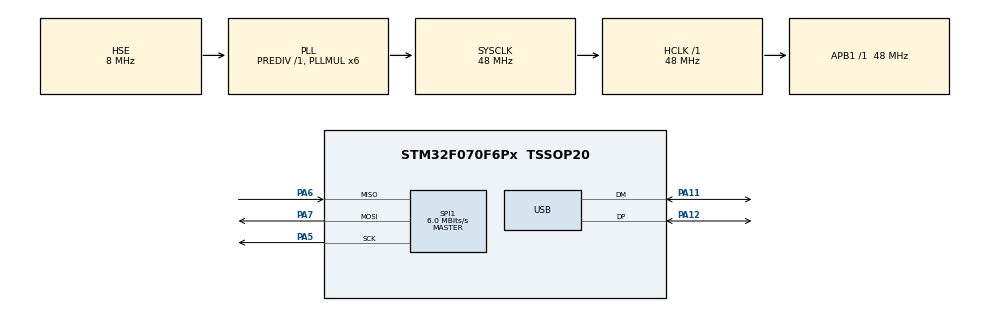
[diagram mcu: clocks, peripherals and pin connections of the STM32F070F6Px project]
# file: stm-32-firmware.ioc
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Mcu.Family=STM32F0
Mcu.Name=STM32F070F6Px
Mcu.Package=TSSOP20
NVIC.USB_IRQn=true\:0\:0\:false\:false\:true\:false
PA11.Mode=Device
PA11.Signal=USB_DM
PA12.Mode=Device
PA12.Signal=USB_DP
PA13.Mode=Serial_Wire
PA13.Signal=SYS_SWDIO
PA14.Mode=Serial_Wire
PA14.Signal=SYS_SWCLK
PA5.Mode=Full_Duplex_Master
PA5.Signal=SPI1_SCK
PA6.Mode=Full_Duplex_Master
PA6.Signal=SPI1_MISO
PA7.Mode=Full_Duplex_Master
PA7.Signal=SPI1_MOSI
PF0-OSC_IN.Mode=HSE-External-Oscillator
PF0-OSC_IN.Signal=RCC_OSC_IN
PF1-OSC_OUT.Mode=HSE-External-Oscillator
PF1-OSC_OUT.Signal=RCC_OSC_OUT
ProjectManager.HeapSize=0x200
ProjectManager.StackSize=0x200
ProjectManager.TargetToolchain=Makefile
RCC.AHBFreq_Value=48000000
RCC.APB1Freq_Value=48000000
RCC.APB1TimFreq_Value=48000000
RCC.HCLKFreq_Value=48000000
RCC.PLLMUL=RCC_PLL_MUL6
RCC.SYSCLKFreq_VALUE=48000000
RCC.SYSCLKSource=RCC_SYSCLKSOURCE_PLLCLK
SPI1.BaudRatePrescaler=SPI_BAUDRATEPRESCALER_8
SPI1.CalculateBaudRate=6.0 MBits/s
SPI1.Direction=SPI_DIRECTION_2LINES
SPI1.Mode=SPI_MODE_MASTER
SPI1.VirtualType=VM_MASTER
USB_DEVICE.CLASS_NAME_FS=AUDIO
USB_DEVICE.VirtualMode=Audio
USB_DEVICE.VirtualModeFS=Audio_FS
VP_SYS_VS_PINREMAP.Mode=PINREMAP
VP_USB_DEVICE_VS_USB_DEVICE_AUDIO_FS.Mode=AUDIO_FS
board=custom

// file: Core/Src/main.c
/**
  ******************************************************************************
  * @file           : main.c
  * @brief          : Main program body
  ******************************************************************************
  * This notice applies to any and all portions of this file
  * that are not between comment pairs USER CODE BEGIN and
  * USER CODE END. Other portions of this file, whether
  * inserted by the user or by software development tools
  * are owned by their respective copyright owners.
  *
  * Copyright (c) 2018 STMicroelectronics International N.V.
  * All rights reserved.
  *
  * Redistribution and use in source and binary forms, with or without
  * modification, are permitted, provided that the following conditions are met:
  *
  * 1. Redistribution of source code must retain the above copyright notice,
  *    this list of conditions and the following disclaimer.
  * 2. Redistributions in binary form must reproduce the above copyright notice,
  *    this list of conditions and the following disclaimer in the documentation
  *    and/or other materials provided with the distribution.
  * 3. Neither the name of STMicroelectronics nor the names of other
  *    contributors to this software may be used to endorse or promote products
  *    derived from this software without specific written permission.
  * 4. This software, including modifications and/or derivative works of this
  *    software, must execute solely and exclusively on microcontroller or
  *    microprocessor devices manufactured by or for STMicroelectronics.
  * 5. Redistribution and use of this software other than as permitted under
  *    this license is void and will automatically terminate your rights under
  *    this license.
  *
  * THIS SOFTWARE IS PROVIDED BY STMICROELECTRONICS AND CONTRIBUTORS "AS IS"
  * AND ANY EXPRESS, IMPLIED OR STATUTORY WARRANTIES, INCLUDING, BUT NOT
  * LIMITED TO, THE IMPLIED WARRANTIES OF MERCHANTABILITY, FITNESS FOR A
  * PARTICULAR PURPOSE AND NON-INFRINGEMENT OF THIRD PARTY INTELLECTUAL PROPERTY
  * RIGHTS ARE DISCLAIMED TO THE FULLEST EXTENT PERMITTED BY LAW. IN NO EVENT
  * SHALL STMICROELECTRONICS OR CONTRIBUTORS BE LIABLE FOR ANY DIRECT, INDIRECT,
  * INCIDENTAL, SPECIAL, EXEMPLARY, OR CONSEQUENTIAL DAMAGES (INCLUDING, BUT NOT
  * LIMITED TO, PROCUREMENT OF SUBSTITUTE GOODS OR SERVICES; LOSS OF USE, DATA,
  * OR PROFITS; OR BUSINESS INTERRUPTION) HOWEVER CAUSED AND ON ANY THEORY OF
  * LIABILITY, WHETHER IN CONTRACT, STRICT LIABILITY, OR TORT (INCLUDING
  * NEGLIGENCE OR OTHERWISE) ARISING IN ANY WAY OUT OF THE USE OF THIS SOFTWARE,
  * EVEN IF ADVISED OF THE POSSIBILITY OF SUCH DAMAGE.
  *
  ******************************************************************************
  */
#include "main.h"
#include "stm32f0xx_hal.h"
#include "spi.h"
#include "usb_device.h"
#include "gpio.h"
#include "usbd_midi_if.h"

/* USER CODE BEGIN PV */
/* Private variables ---------------------------------------------------------*/

/* USER CODE END PV */

void SystemClock_Config(void);

/* USER CODE BEGIN PFP */
/* Private function prototypes -----------------------------------------------*/

/* USER CODE END PFP */

/* USER CODE BEGIN 0 */
void send_emulated(uint8_t * data, uint32_t length) {
  uint32_t ptr = 0;
  while(1) {
    if(length - ptr > 1) {
      // we send out two bytes in one packet (note on)
      uint8_t message[] = {0x09, 0x90 | data[ptr] >> 7 | (data[ptr + 1] >> 7) << 1, data[ptr] & 0b01111111, data[ptr + 1] & 0b01111111};
      sendMidiMessage(message, 4);
      ptr += 2;
    } else if (length - ptr == 1) {
      // we send out one byte in one packet (note off)
      uint8_t message[] = {0x08, 0x80 | data[ptr] >> 7, data[ptr] & 0b01111111, 0x00};
      sendMidiMessage(message, 4);
      ptr += 1;
    } else {
      return;
    }
    USBD_MIDI_SendPacket();
  }
}
/* USER CODE END 0 */

int main(void)
{

  /* MCU Configuration----------------------------------------------------------*/

  /* Reset of all peripherals, Initializes the Flash interface and the Systick. */
  HAL_Init();

  /* Configure the system clock */
  SystemClock_Config();

  /* Initialize all configured peripherals */
  MX_GPIO_Init();
  MX_SPI1_Init();
  MX_USB_DEVICE_Init();
  /* USER CODE BEGIN 2 */
  for(int i = 0; i < 8000000; i++);
  midiInit();
  /* USER CODE END 2 */

  /* Infinite loop */
  /* USER CODE BEGIN WHILE */
  while (1)
  {
    //sleep
    uint8_t message[] = "123456789\n";
    send_emulated(message, sizeof(message));
  /* USER CODE END WHILE */

  }

}

void SystemClock_Config(void)
{

  RCC_OscInitTypeDef RCC_OscInitStruct;
  RCC_ClkInitTypeDef RCC_ClkInitStruct;
  RCC_PeriphCLKInitTypeDef PeriphClkInit;

    /**Initializes the CPU, AHB and APB busses clocks
    */
  RCC_OscInitStruct.OscillatorType = RCC_OSCILLATORTYPE_HSE;
  RCC_OscInitStruct.HSEState = RCC_HSE_ON;
  RCC_OscInitStruct.PLL.PLLState = RCC_PLL_ON;
  RCC_OscInitStruct.PLL.PLLSource = RCC_PLLSOURCE_HSE;
  RCC_OscInitStruct.PLL.PLLMUL = RCC_PLL_MUL6;
  RCC_OscInitStruct.PLL.PREDIV = RCC_PREDIV_DIV1;
  if (HAL_RCC_OscConfig(&RCC_OscInitStruct) != HAL_OK)
  {
    _Error_Handler(__FILE__, __LINE__);
  }

    /**Initializes the CPU, AHB and APB busses clocks
    */
  RCC_ClkInitStruct.ClockType = RCC_CLOCKTYPE_HCLK|RCC_CLOCKTYPE_SYSCLK
                              |RCC_CLOCKTYPE_PCLK1;
  RCC_ClkInitStruct.SYSCLKSource = RCC_SYSCLKSOURCE_PLLCLK;
  RCC_ClkInitStruct.AHBCLKDivider = RCC_SYSCLK_DIV1;
  RCC_ClkInitStruct.APB1CLKDivider = RCC_HCLK_DIV1;

  if (HAL_RCC_ClockConfig(&RCC_ClkInitStruct, FLASH_LATENCY_1) != HAL_OK)
  {
    _Error_Handler(__FILE__, __LINE__);
  }

  PeriphClkInit.PeriphClockSelection = RCC_PERIPHCLK_USB;
  PeriphClkInit.UsbClockSelection = RCC_USBCLKSOURCE_PLL;

  if (HAL_RCCEx_PeriphCLKConfig(&PeriphClkInit) != HAL_OK)
  {
    _Error_Handler(__FILE__, __LINE__);
  }

    /**Configure the Systick interrupt time
    */
  HAL_SYSTICK_Config(HAL_RCC_GetHCLKFreq()/1000);

    /**Configure the Systick
    */
  HAL_SYSTICK_CLKSourceConfig(SYSTICK_CLKSOURCE_HCLK);

  /* SysTick_IRQn interrupt configuration */
  HAL_NVIC_SetPriority(SysTick_IRQn, 0, 0);
}

void _Error_Handler(char *file, int line)
{
  while(1)
  {
  }
}

/************************ (C) COPYRIGHT STMicroelectronics *****END OF FILE****/
